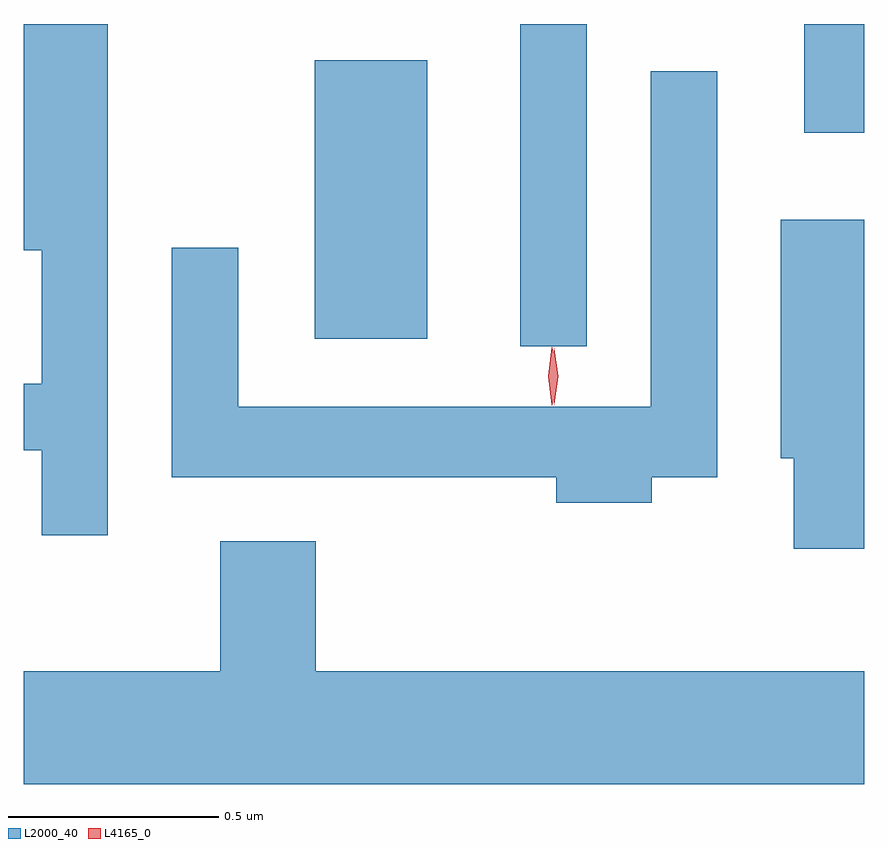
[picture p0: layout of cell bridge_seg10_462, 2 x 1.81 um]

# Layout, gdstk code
import gdstk
lib = gdstk.Library(unit=1e-6, precision=1e-09)
def R(c, l, rs):  # rectangles x0, y0, x1, y1
    for r in rs: c.add(gdstk.rectangle(r[:2], r[2:], *l))
def P(c, l, *ps):  # polygons
    for p in ps: c.add(gdstk.Polygon(p, *l))
L2000_40 = (2000, 40)
L4165_0 = (4165, 0)

bridge_seg10_462 = lib.new_cell('bridge_seg10_462')
R(bridge_seg10_462, L2000_40, [(1416.776,2112.738,1416.934,2113.505), (1416.286,2112.756,1416.554,2113.419), (1417.451,2113.246,1417.594,2113.505)])
P(bridge_seg10_462, L2000_40, [(1415.794,2113.505),(1415.594,2113.505),(1415.594,2112.966),(1415.636,2112.966),(1415.636,2112.649),(1415.594,2112.649),(1415.594,2112.491),(1415.636,2112.491),(1415.636,2112.288),(1415.794,2112.288)],
  [(1417.089,2112.426),(1417.244,2112.426),(1417.244,2113.393),(1417.086,2113.393),(1417.086,2112.594),(1416.104,2112.594),(1416.104,2112.973),(1415.946,2112.973),(1415.946,2112.426),(1416.861,2112.426),(1416.861,2112.366),(1417.089,2112.366)],
  [(1417.594,2113.039),(1417.396,2113.039),(1417.396,2112.471),(1417.426,2112.471),(1417.426,2112.256),(1417.594,2112.256)],
  [(1417.594,2111.964),(1416.289,2111.964),(1416.289,2112.274),(1416.061,2112.274),(1416.061,2111.964),(1415.594,2111.964),(1415.594,2111.696),(1417.594,2111.696)])
P(bridge_seg10_462, L4165_0, [(1416.851,2112.597),(1416.842,2112.667),(1416.851,2112.736),(1416.852,2112.736),(1416.852,2112.736),(1416.862,2112.667),(1416.852,2112.597),(1416.852,2112.597)],
  [(1416.856,2112.599),(1416.856,2112.6),(1416.846,2112.666),(1416.856,2112.732),(1416.856,2112.733),(1416.857,2112.732),(1416.866,2112.666),(1416.857,2112.6)])

lib.write_gds('bridge_seg10_462.gds')
